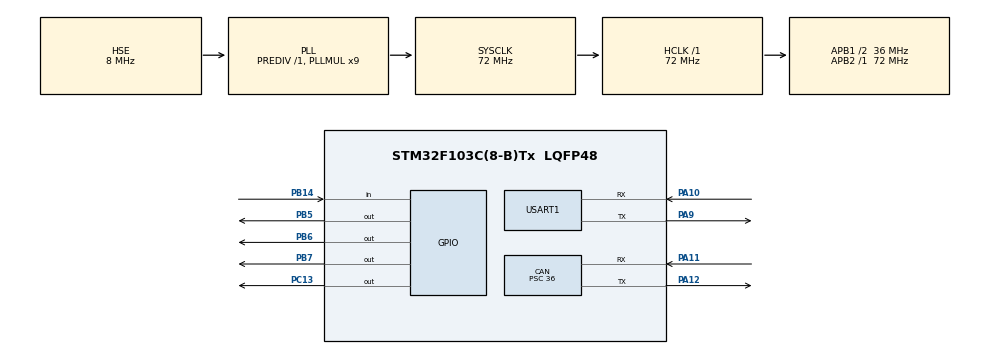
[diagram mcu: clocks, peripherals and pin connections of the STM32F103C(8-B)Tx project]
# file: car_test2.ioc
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CAN.ABOM=ENABLE
CAN.AWUM=ENABLE
CAN.BS1=CAN_BS1_2TQ
CAN.BS2=CAN_BS2_3TQ
CAN.CalculateBaudRate=166666
CAN.CalculateTimeBit=6000
CAN.CalculateTimeQuantum=1000.0
CAN.Prescaler=36
Mcu.Family=STM32F1
Mcu.Name=STM32F103C(8-B)Tx
Mcu.Package=LQFP48
NVIC.PriorityGroup=NVIC_PRIORITYGROUP_4
PA10.Mode=Asynchronous
PA10.Signal=USART1_RX
PA11.Mode=CAN_Activate
PA11.Signal=CAN_RX
PA12.Mode=CAN_Activate
PA12.Signal=CAN_TX
PA13.Mode=Serial_Wire
PA13.Signal=SYS_JTMS-SWDIO
PA14.Mode=Serial_Wire
PA14.Signal=SYS_JTCK-SWCLK
PA9.Mode=Asynchronous
PA9.Signal=USART1_TX
PB14.GPIO_PuPd=GPIO_NOPULL
PB14.Signal=GPIO_Input
PB5.GPIO_ModeDefaultOutputPP=GPIO_MODE_OUTPUT_PP
PB5.GPIO_PuPd=GPIO_PULLDOWN
PB5.PinState=GPIO_PIN_RESET
PB5.Signal=GPIO_Output
PB6.GPIO_ModeDefaultOutputPP=GPIO_MODE_OUTPUT_OD
PB6.GPIO_PuPd=GPIO_PULLUP
PB6.GPIO_Speed=GPIO_SPEED_FREQ_HIGH
PB6.PinState=GPIO_PIN_SET
PB6.Signal=GPIO_Output
PB7.GPIO_ModeDefaultOutputPP=GPIO_MODE_OUTPUT_OD
PB7.GPIO_PuPd=GPIO_PULLUP
PB7.GPIO_Speed=GPIO_SPEED_FREQ_HIGH
PB7.PinState=GPIO_PIN_SET
PB7.Signal=GPIO_Output
PC13-TAMPER-RTC.GPIO_ModeDefaultOutputPP=GPIO_MODE_OUTPUT_PP
PC13-TAMPER-RTC.GPIO_PuPd=GPIO_PULLUP
PC13-TAMPER-RTC.GPIO_Speed=GPIO_SPEED_FREQ_LOW
PC13-TAMPER-RTC.PinState=GPIO_PIN_SET
PC13-TAMPER-RTC.Signal=GPIO_Output
PC14-OSC32_IN.Mode=LSE-External-Oscillator
PC14-OSC32_IN.Signal=RCC_OSC32_IN
PC15-OSC32_OUT.Mode=LSE-External-Oscillator
PC15-OSC32_OUT.Signal=RCC_OSC32_OUT
PD0-OSC_IN.Mode=HSE-External-Oscillator
PD0-OSC_IN.Signal=RCC_OSC_IN
PD1-OSC_OUT.Mode=HSE-External-Oscillator
PD1-OSC_OUT.Signal=RCC_OSC_OUT
ProjectManager.HeapSize=0x200
ProjectManager.StackSize=0x400
ProjectManager.TargetToolchain=MDK-ARM V5.32
RCC.AHBFreq_Value=72000000
RCC.APB1CLKDivider=RCC_HCLK_DIV2
RCC.APB1Freq_Value=36000000
RCC.APB1TimFreq_Value=72000000
RCC.APB2Freq_Value=72000000
RCC.APB2TimFreq_Value=72000000
RCC.HCLKFreq_Value=72000000
RCC.PLLMUL=RCC_PLL_MUL9
RCC.PLLSourceVirtual=RCC_PLLSOURCE_HSE
RCC.SYSCLKFreq_VALUE=72000000
RCC.SYSCLKSource=RCC_SYSCLKSOURCE_PLLCLK
RCC.USBFreq_Value=72000000
USART1.VirtualMode=VM_ASYNC
board=custom

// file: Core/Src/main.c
/* USER CODE BEGIN Header */
/**
  ******************************************************************************
  * @file           : main.c
  * @brief          : Main program body
  ******************************************************************************
  * @attention
  *
  * Copyright (c) 2026 STMicroelectronics.
  * All rights reserved.
  *
  * This software is licensed under terms that can be found in the LICENSE file
  * in the root directory of this software component.
  * If no LICENSE file comes with this software, it is provided AS-IS.
  *
  ******************************************************************************
  */
/* USER CODE END Header */
#include "main.h"
#include "can.h"
#include "usart.h"
#include "gpio.h"

/* USER CODE BEGIN Includes */
#include "OLED.h"
/* USER CODE END Includes */

/* USER CODE BEGIN PTD */
#define key1 HAL_GPIO_ReadPin(GPIOB,GPIO_PIN_14)
/* USER CODE END PTD */

/* USER CODE BEGIN PV */
RxMsg g_rxMsg = {0};// 定义一个全局的接收消息结构体，初始化为0x00
/* USER CODE END PV */

void SystemClock_Config(void);
/* USER CODE BEGIN PFP */
TxMsg g_txMsg[2] = {
  {
    .txHeader.StdId = 0x555,
    .txHeader.IDE = CAN_ID_STD,
    .txHeader.RTR = CAN_RTR_DATA,
    .txHeader.DLC = 4,
    .txMailBox = 0,
    .data = {0x13, 0x24,0x07, 0x40}
  },
  {
    .txHeader.StdId = 0x555,
    .txHeader.IDE = CAN_ID_STD,
    .txHeader.RTR = CAN_RTR_DATA,
    .txHeader.DLC = 4,
    .txMailBox = 0,
    .data = {0x13, 0x24,0x08, 0x40}
  },
};
/* USER CODE END PFP */

/* USER CODE BEGIN 0 */
uint8_t key_scan(void)
{
	uint8_t key_val = 0xff;
	static uint8_t key_flag = 1;
	/*按下过程*/
	//检测按键按下
	if((key1 ==GPIO_PIN_RESET) && key_flag)
	{
		//延时消抖
		HAL_Delay(15);
		//再次检测按键按下
		if((key1 ==GPIO_PIN_RESET))
		{
			//赋值键值
			key_val = 1;
			//锁定标志位
			key_flag=0;
		}
	}
	/*抬起过程*/
	if((key1 !=GPIO_PIN_RESET))
	{
		key_flag=1;
	}
	//返回键值
	return key_val;
}
/* USER CODE END 0 */

int main(void)
{

  /* MCU Configuration--------------------------------------------------------*/

  /* Reset of all peripherals, Initializes the Flash interface and the Systick. */
  HAL_Init();

  /* Configure the system clock */
  SystemClock_Config();

  /* Initialize all configured peripherals */
  MX_GPIO_Init();
  MX_CAN_Init();
  MX_USART1_UART_Init();
  /* USER CODE BEGIN 2 */
	HAL_CAN_Start(&hcan);
  CAN_FilterConfig();
	OLED_Init();
	HAL_GPIO_WritePin(GPIOC,GPIO_PIN_13,GPIO_PIN_RESET);
	OLED_Printf(0,0,OLED_8X16,"你好");
	OLED_Update();
  printf("a");
	uint8_t state=0;
	uint8_t button;
  /* USER CODE END 2 */

  /* Infinite loop */
  /* USER CODE BEGIN WHILE */
  while (1)
  {
		button =key_scan();
		if(button==1)
		{
			state ^=1;
		  if(state != 0)
      {
        HAL_GPIO_WritePin(GPIOB,GPIO_PIN_5,GPIO_PIN_SET);
        CAN_SendMsg(&g_txMsg[0]);
      }
		  else
      {
        HAL_GPIO_WritePin(GPIOB,GPIO_PIN_5,GPIO_PIN_RESET);
        CAN_SendMsg(&g_txMsg[1]);
      }

		}

    if(CAN_IsMsgPending())
    {
        CAN_ReceiveMsg(&g_rxMsg);
        if(g_rxMsg.data[0]==0xaa &&g_rxMsg.data[1]==0x11)
        {
          switch (g_rxMsg.data[2])
          {
            case 0x07:
              HAL_GPIO_WritePin(GPIOB,GPIO_PIN_5,GPIO_PIN_SET);
              state = 1;
              CAN_SendMsg(&g_txMsg[0]);
            break;
            case 0x08:
              HAL_GPIO_WritePin(GPIOB,GPIO_PIN_5,GPIO_PIN_RESET);
              state = 0;
              CAN_SendMsg(&g_txMsg[1]);
            break;
            default:
              break;
          }
        }
				OLED_ShowString(0, 0, "STID:",OLED_8X16);
        OLED_ShowHexNum(80, 0, g_rxMsg.rxHeader.StdId, 3,OLED_8X16);
        OLED_ShowHexNum(0, 16, g_rxMsg.data[0],  2,OLED_8X16);
        OLED_ShowHexNum(20, 16, g_rxMsg.data[1], 2,OLED_8X16);
        OLED_ShowHexNum(40, 16, g_rxMsg.data[2], 2,OLED_8X16);
        OLED_ShowHexNum(60, 16, g_rxMsg.data[3], 2,OLED_8X16);
				OLED_Update();
    }

    /* USER CODE END WHILE */

  }
}

void SystemClock_Config(void)
{
  RCC_OscInitTypeDef RCC_OscInitStruct = {0};
  RCC_ClkInitTypeDef RCC_ClkInitStruct = {0};

  /** Initializes the RCC Oscillators according to the specified parameters
  * in the RCC_OscInitTypeDef structure.
  */
  RCC_OscInitStruct.OscillatorType = RCC_OSCILLATORTYPE_HSE;
  RCC_OscInitStruct.HSEState = RCC_HSE_ON;
  RCC_OscInitStruct.HSEPredivValue = RCC_HSE_PREDIV_DIV1;
  RCC_OscInitStruct.HSIState = RCC_HSI_ON;
  RCC_OscInitStruct.PLL.PLLState = RCC_PLL_ON;
  RCC_OscInitStruct.PLL.PLLSource = RCC_PLLSOURCE_HSE;
  RCC_OscInitStruct.PLL.PLLMUL = RCC_PLL_MUL9;
  if (HAL_RCC_OscConfig(&RCC_OscInitStruct) != HAL_OK)
  {
    Error_Handler();
  }

  /** Initializes the CPU, AHB and APB buses clocks
  */
  RCC_ClkInitStruct.ClockType = RCC_CLOCKTYPE_HCLK|RCC_CLOCKTYPE_SYSCLK
                              |RCC_CLOCKTYPE_PCLK1|RCC_CLOCKTYPE_PCLK2;
  RCC_ClkInitStruct.SYSCLKSource = RCC_SYSCLKSOURCE_PLLCLK;
  RCC_ClkInitStruct.AHBCLKDivider = RCC_SYSCLK_DIV1;
  RCC_ClkInitStruct.APB1CLKDivider = RCC_HCLK_DIV2;
  RCC_ClkInitStruct.APB2CLKDivider = RCC_HCLK_DIV1;

  if (HAL_RCC_ClockConfig(&RCC_ClkInitStruct, FLASH_LATENCY_2) != HAL_OK)
  {
    Error_Handler();
  }
}

void Error_Handler(void)
{
  __disable_irq();
  while (1)
  {
  }
}
